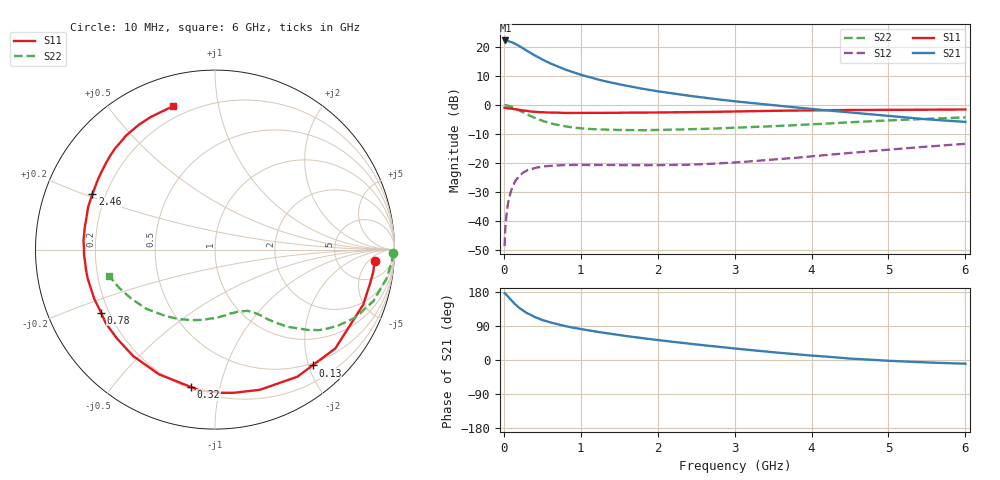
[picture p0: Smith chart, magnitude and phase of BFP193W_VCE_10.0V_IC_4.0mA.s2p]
! Infineon Technologies  Discrete & RF Semiconductors
! BFP193W
! VCE = 10.0V,  IC =  4.0 mA
! Common Emitter S-Parameters:  Jan 2016
# GHz  S  MA  R  50
!  f  S11  S21  S12  S22
! GHz  MAG  ANG  MAG  ANG  MAG  ANG  MAG  ANG
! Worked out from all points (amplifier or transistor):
!   210 points, 10 MHz to 6 GHz, reference 50 ohm
!   highest |S21| = 22.2 dB at 20 MHz (marker M1)
!   |S21| within 3 dB of that: start of sweep to 266.5 MHz
!   unconditionally stable (mu >= 1): 1.848 GHz to 4.765 GHz
!   at 185 MHz: K = 0.13, MSG = 22.7 dB, |S12| = -24.9 dB
!   at 1.52 GHz: K = 0.85, MSG = 13.9 dB, |S12| = -20.8 dB
!   at 6 GHz: K = 0.92, MSG = 3.8 dB, |S12| = -13.4 dB
!   S11 on the Smith chart (normalised r, x): 10 MHz: 13, -8; 130 MHz: 0.46, -2.07; 320 MHz: 0.21, -0.82; 780 MHz: 0.17, -0.25; 2.46 GHz: 0.15, +0.21; 6 GHz: 0.14, +0.74
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0.01  0.8926 -4.0  12.74 176.7  0.0037 86.3  0.993 -1.1
0.02  0.89 -8.1  12.81 175.1  0.0077 84.7  0.9867 -4.0
0.05  0.8808 -20.4  12.64 168.0  0.0186 78.9  0.9698 -9.5
0.1  0.8674 -39.4  12.01 156.8  0.0351 68.6  0.9279 -18.0
0.13  0.8437 -49.9  11.49 150.7  0.0434 62.8  0.8903 -22.6
0.15  0.8441 -57.0  11.23 146.4  0.0491 60.1  0.8686 -25.9
0.2  0.8203 -72.2  10.27 137.6  0.0599 52.8  0.8037 -31.9
0.26  0.799 -87.4  9.187 129.1  0.0694 45.7  0.7318 -37.8
0.3  0.7879 -96.6  8.497 123.8  0.0743 41.6  0.6851 -40.8
0.32  0.7769 -100.0  8.199 122.0  0.0757 40.0  0.6664 -41.8
0.4  0.7616 -114.2  7.103 113.5  0.0819 34.1  0.5942 -46.5
0.5  0.7481 -127.5  6.024 105.5  0.0867 29.2  0.5305 -50.2
0.6  0.7375 -137.5  5.188 99.3  0.0892 25.5  0.4833 -53.1
0.78  0.7259 -151.1  4.147 90.3  0.0918 21.6  0.4306 -56.6
1.02  0.7249 -163.6  3.236 80.9  0.0925 18.7  0.3926 -61.0
1.4  0.7305 -177.7  2.405 68.7  0.0922 17.6  0.3721 -68.0
2.02  0.7383 165.5  1.696 52.3  0.0917 21.7  0.3707 -80.8
2.46  0.7494 155.7  1.404 42.0  0.0937 26.5  0.3823 -90.6
3.1  0.7712 143.3  1.116 28.5  0.1041 33.8  0.4071 -105.4
4.1  0.8067 126.7  0.825 10.3  0.1337 40.1  0.4686 -129.5
5.1  0.8215 114.7  0.626 -2.9  0.1735 40.1  0.5459 -151.3
6  0.8319 106.3  0.509 -9.8  0.2137 37.1  0.6085 -166.2
